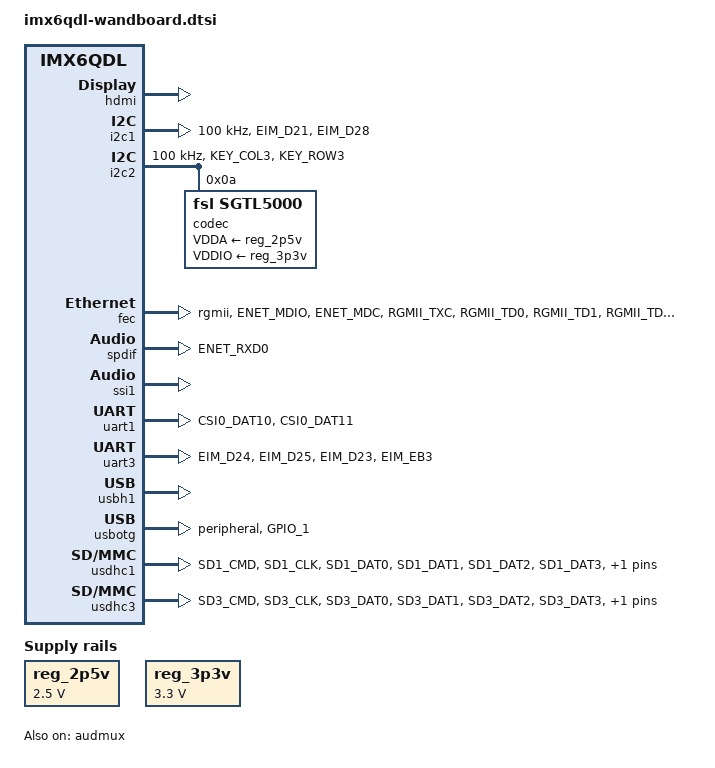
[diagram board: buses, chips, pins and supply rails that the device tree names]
/*
 * Copyright 2013 Freescale Semiconductor, Inc.
 *
 * Author: Fabio Estevam <fabio.estevam@freescale.com>
 *
 * This program is free software; you can redistribute it and/or modify
 * it under the terms of the GNU General Public License version 2 as
 * published by the Free Software Foundation.
 *
 */

#include <dt-bindings/gpio/gpio.h>

/ {
	regulators {
		compatible = "simple-bus";
		#address-cells = <1>;
		#size-cells = <0>;

		reg_2p5v: regulator@0 {
			compatible = "regulator-fixed";
			reg = <0>;
			regulator-name = "2P5V";
			regulator-min-microvolt = <2500000>;
			regulator-max-microvolt = <2500000>;
			regulator-always-on;
		};

		reg_3p3v: regulator@1 {
			compatible = "regulator-fixed";
			reg = <1>;
			regulator-name = "3P3V";
			regulator-min-microvolt = <3300000>;
			regulator-max-microvolt = <3300000>;
			regulator-always-on;
		};
	};

	sound {
		compatible = "fsl,imx6-wandboard-sgtl5000",
			     "fsl,imx-audio-sgtl5000";
		model = "imx6-wandboard-sgtl5000";
		ssi-controller = <&ssi1>;
		audio-codec = <&codec>;
		audio-routing =
			"MIC_IN", "Mic Jack",
			"Mic Jack", "Mic Bias",
			"Headphone Jack", "HP_OUT";
		mux-int-port = <1>;
		mux-ext-port = <3>;
	};

	sound-spdif {
		compatible = "fsl,imx-audio-spdif";
		model = "imx-spdif";
		spdif-controller = <&spdif>;
		spdif-out;
	};
};

&audmux {
	pinctrl-names = "default";
	pinctrl-0 = <&pinctrl_audmux>;
	status = "okay";
};

&hdmi {
	ddc-i2c-bus = <&i2c1>;
	status = "okay";
};

&i2c1 {
	clock-frequency = <100000>;
	pinctrl-names = "default";
	pinctrl-0 = <&pinctrl_i2c1>;
	status = "okay";
};

&i2c2 {
	clock-frequency = <100000>;
	pinctrl-names = "default";
	pinctrl-0 = <&pinctrl_i2c2>;
	status = "okay";

	codec: sgtl5000@0a {
		compatible = "fsl,sgtl5000";
		reg = <0x0a>;
		clocks = <&clks 201>;
		VDDA-supply = <&reg_2p5v>;
		VDDIO-supply = <&reg_3p3v>;
	};
};

&iomuxc {
	pinctrl-names = "default";

	imx6qdl-wandboard {

		pinctrl_audmux: audmuxgrp {
			fsl,pins = <
				MX6QDL_PAD_CSI0_DAT7__AUD3_RXD		0x130b0
				MX6QDL_PAD_CSI0_DAT4__AUD3_TXC		0x130b0
				MX6QDL_PAD_CSI0_DAT5__AUD3_TXD		0x110b0
				MX6QDL_PAD_CSI0_DAT6__AUD3_TXFS		0x130b0
			>;
		};

		pinctrl_enet: enetgrp {
			fsl,pins = <
				MX6QDL_PAD_ENET_MDIO__ENET_MDIO		0x1b0b0
				MX6QDL_PAD_ENET_MDC__ENET_MDC		0x1b0b0
				MX6QDL_PAD_RGMII_TXC__RGMII_TXC		0x1b0b0
				MX6QDL_PAD_RGMII_TD0__RGMII_TD0		0x1b0b0
				MX6QDL_PAD_RGMII_TD1__RGMII_TD1		0x1b0b0
				MX6QDL_PAD_RGMII_TD2__RGMII_TD2		0x1b0b0
				MX6QDL_PAD_RGMII_TD3__RGMII_TD3		0x1b0b0
				MX6QDL_PAD_RGMII_TX_CTL__RGMII_TX_CTL	0x1b0b0
				MX6QDL_PAD_ENET_REF_CLK__ENET_TX_CLK	0x1b0b0
				MX6QDL_PAD_RGMII_RXC__RGMII_RXC		0x1b0b0
				MX6QDL_PAD_RGMII_RD0__RGMII_RD0		0x1b0b0
				MX6QDL_PAD_RGMII_RD1__RGMII_RD1		0x1b0b0
				MX6QDL_PAD_RGMII_RD2__RGMII_RD2		0x1b0b0
				MX6QDL_PAD_RGMII_RD3__RGMII_RD3		0x1b0b0
				MX6QDL_PAD_RGMII_RX_CTL__RGMII_RX_CTL	0x1b0b0
				MX6QDL_PAD_GPIO_16__ENET_REF_CLK	0x4001b0a8
				MX6QDL_PAD_GPIO_6__ENET_IRQ		0x000b1
			>;
		};

		pinctrl_i2c1: i2c1grp {
			fsl,pins = <
				MX6QDL_PAD_EIM_D21__I2C1_SCL 		0x4001b8b1
				MX6QDL_PAD_EIM_D28__I2C1_SDA 		0x4001b8b1
			>;
		};

		pinctrl_i2c2: i2c2grp {
			fsl,pins = <
				MX6QDL_PAD_KEY_COL3__I2C2_SCL		0x4001b8b1
				MX6QDL_PAD_KEY_ROW3__I2C2_SDA		0x4001b8b1
			>;
		};

		pinctrl_spdif: spdifgrp {
			fsl,pins = <
				MX6QDL_PAD_ENET_RXD0__SPDIF_OUT		0x1b0b0
			>;
		};

		pinctrl_uart1: uart1grp {
			fsl,pins = <
				MX6QDL_PAD_CSI0_DAT10__UART1_TX_DATA	0x1b0b1
				MX6QDL_PAD_CSI0_DAT11__UART1_RX_DATA	0x1b0b1
			>;
		};

		pinctrl_uart3: uart3grp {
			fsl,pins = <
				MX6QDL_PAD_EIM_D24__UART3_TX_DATA	0x1b0b1
				MX6QDL_PAD_EIM_D25__UART3_RX_DATA	0x1b0b1
				MX6QDL_PAD_EIM_D23__UART3_CTS_B		0x1b0b1
				MX6QDL_PAD_EIM_EB3__UART3_RTS_B		0x1b0b1
			>;
		};

		pinctrl_usbotg: usbotggrp {
			fsl,pins = <
				MX6QDL_PAD_GPIO_1__USB_OTG_ID		0x17059
			>;
		};

		pinctrl_usdhc1: usdhc1grp {
			fsl,pins = <
				MX6QDL_PAD_SD1_CMD__SD1_CMD		0x17059
				MX6QDL_PAD_SD1_CLK__SD1_CLK		0x10059
				MX6QDL_PAD_SD1_DAT0__SD1_DATA0		0x17059
				MX6QDL_PAD_SD1_DAT1__SD1_DATA1		0x17059
				MX6QDL_PAD_SD1_DAT2__SD1_DATA2		0x17059
				MX6QDL_PAD_SD1_DAT3__SD1_DATA3		0x17059
			>;
		};

		pinctrl_usdhc2: usdhc2grp {
			fsl,pins = <
				MX6QDL_PAD_SD2_CMD__SD2_CMD		0x17059
				MX6QDL_PAD_SD2_CLK__SD2_CLK		0x10059
				MX6QDL_PAD_SD2_DAT0__SD2_DATA0		0x17059
				MX6QDL_PAD_SD2_DAT1__SD2_DATA1		0x17059
				MX6QDL_PAD_SD2_DAT2__SD2_DATA2		0x17059
				MX6QDL_PAD_SD2_DAT3__SD2_DATA3		0x17059
			>;
		};

		pinctrl_usdhc3: usdhc3grp {
			fsl,pins = <
				MX6QDL_PAD_SD3_CMD__SD3_CMD		0x17059
				MX6QDL_PAD_SD3_CLK__SD3_CLK		0x10059
				MX6QDL_PAD_SD3_DAT0__SD3_DATA0		0x17059
				MX6QDL_PAD_SD3_DAT1__SD3_DATA1		0x17059
				MX6QDL_PAD_SD3_DAT2__SD3_DATA2		0x17059
				MX6QDL_PAD_SD3_DAT3__SD3_DATA3		0x17059
			>;
		};
	};
};

&fec {
	pinctrl-names = "default";
	pinctrl-0 = <&pinctrl_enet>;
	phy-mode = "rgmii";
	phy-reset-gpios = <&gpio3 29 0>;
	interrupts-extended = <&gpio1 6 IRQ_TYPE_LEVEL_HIGH>,
			      <&intc 0 119 IRQ_TYPE_LEVEL_HIGH>;
	status = "okay";
};

&spdif {
	pinctrl-names = "default";
	pinctrl-0 = <&pinctrl_spdif>;
	status = "okay";
};

&ssi1 {
	status = "okay";
};

&uart1 {
	pinctrl-names = "default";
	pinctrl-0 = <&pinctrl_uart1>;
	status = "okay";
};

&uart3 {
	pinctrl-names = "default";
	pinctrl-0 = <&pinctrl_uart3>;
	fsl,uart-has-rtscts;
	status = "okay";
};

&usbh1 {
	status = "okay";
};

&usbotg {
	pinctrl-names = "default";
	pinctrl-0 = <&pinctrl_usbotg>;
	disable-over-current;
	dr_mode = "peripheral";
	status = "okay";
};

&usdhc1 {
	pinctrl-names = "default";
	pinctrl-0 = <&pinctrl_usdhc1>;
	cd-gpios = <&gpio1 2 GPIO_ACTIVE_LOW>;
	status = "okay";
};

&usdhc3 {
	pinctrl-names = "default";
	pinctrl-0 = <&pinctrl_usdhc3>;
	cd-gpios = <&gpio3 9 GPIO_ACTIVE_LOW>;
	status = "okay";
};
